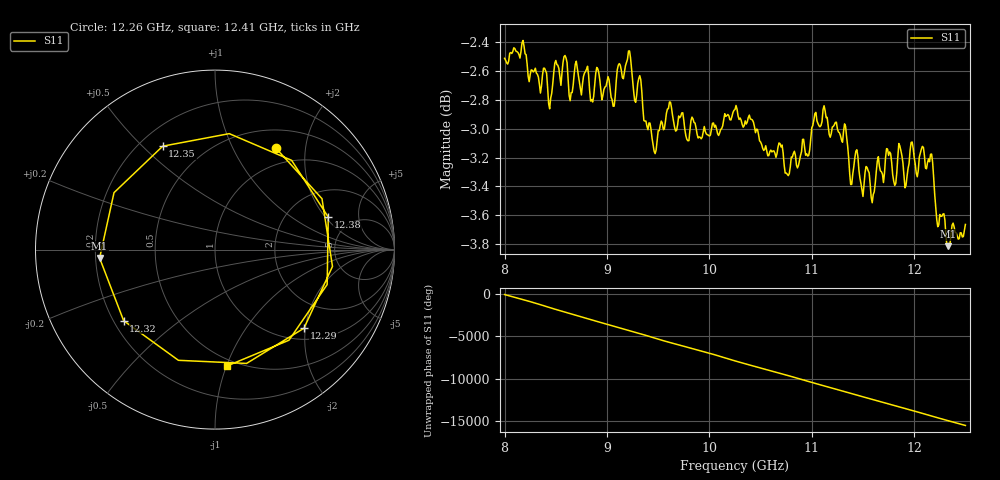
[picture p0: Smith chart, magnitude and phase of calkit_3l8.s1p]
#  HZ  S  RI  R  50.00
! Rohde & Schwarz Vector Network Analyzer
! Rohde-Schwarz,ZNA43-4Port,1332450044101932,2.92
! Created: UTC 6/2/2026, 7:38:05 AM
! freq[Hz]  re:S11  im:S11
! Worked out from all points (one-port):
!   451 points, 8 GHz to 12.5 GHz, reference 50 ohm
!   lowest |S11| = -3.8 dB at 12.33 GHz (marker M1), VSWR 4.63, Z = 10.8 - j1.75 ohm
!   |S11| at or under -10 dB: nowhere
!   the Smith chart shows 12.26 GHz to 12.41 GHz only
!   S11 on the Smith chart (normalised r, x): 12.26 GHz: 0.74, +1.49; 12.29 GHz: 1.26, -1.96; 12.32 GHz: 0.24, -0.33; 12.35 GHz: 0.29, +0.58; 12.38 GHz: 3.37, +2.14; 12.41 GHz: 0.45, -1.01
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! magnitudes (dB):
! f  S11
! 8 GHz  -2.5
! 8.19 GHz  -2.4
! 8.44 GHz  -2.9
! 8.57 GHz  -2.5
! 9.06 GHz  -2.8
! 9.13 GHz  -2.6
! 9.22 GHz  -2.5
! 9.46 GHz  -3.2
! 9.61 GHz  -2.8
! 9.69 GHz  -3.0
! 10.25 GHz  -2.9
! 10.76 GHz  -3.3
! 10.82 GHz  -3.2
! 11.13 GHz  -2.9
! 11.33 GHz  -3.0
! 11.38 GHz  -3.4
! 11.59 GHz  -3.5
! 11.75 GHz  -3.2
! 11.94 GHz  -3.3
! 12.16 GHz  -3.2
! 12.26 GHz  -3.6
! 12.29 GHz  -3.6
! 12.32 GHz  -3.8
! 12.33 GHz  -3.8
! 12.35 GHz  -3.8
! 12.38 GHz  -3.7
! 12.41 GHz  -3.7
! 12.5 GHz  -3.7
